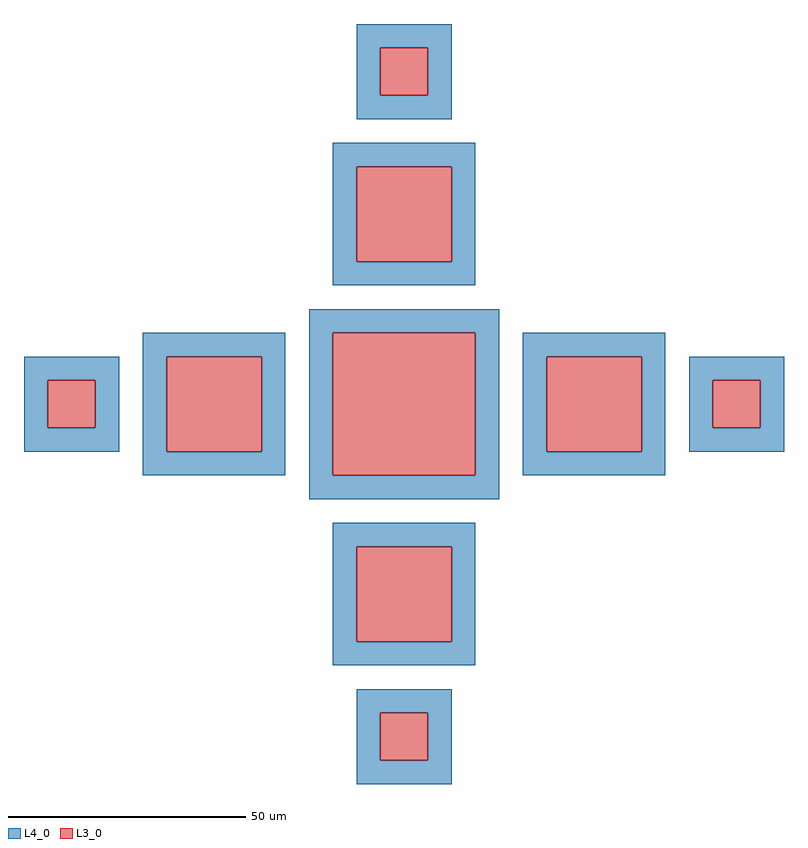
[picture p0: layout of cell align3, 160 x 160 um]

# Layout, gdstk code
from math import pi, radians
import gdstk
lib = gdstk.Library(unit=1e-6, precision=5e-06)
def R(c, l, rs):  # rectangles x0, y0, x1, y1
    for r in rs: c.add(gdstk.rectangle(r[:2], r[2:], *l))
L3_0 = (3, 0)
L4_0 = (4, 0)

align1 = lib.new_cell('align1')
R(align1, L3_0, [(-10,-40,10,-20), (-5,-5,5,5)])

align1_1 = lib.new_cell('align1_1')
R(align1_1, L3_0, [(-15,-15,15,15)])
r = gdstk.Reference(align1, (-70,0), rotation=pi/2); r.repetition = gdstk.Repetition(1, 1, v1=(0,0), v2=(0,0)); align1_1.add(r)
r = gdstk.Reference(align1, (0,-70), rotation=pi); r.repetition = gdstk.Repetition(1, 1, v1=(0,0), v2=(0,0)); align1_1.add(r)
r = gdstk.Reference(align1, (70,0), rotation=3*pi/2); r.repetition = gdstk.Repetition(1, 1, v1=(0,0), v2=(0,0)); align1_1.add(r)
r = gdstk.Reference(align1, (0,70)); r.repetition = gdstk.Repetition(1, 1, v1=(0,0), v2=(0,0)); align1_1.add(r)

align2 = lib.new_cell('align2')
R(align2, L4_0, [(-15,-45,15,-40), (-15,-40,-10,-20), (10,-40,15,-20), (-15,-20,15,-15), (-10,-10,10,-5), (-10,-5,-5,5), (5,-5,10,5), (-10,5,10,10)])

align3 = lib.new_cell('align3')
R(align3, L4_0, [(-20,-20,20,-15), (-20,-15,-15,15), (15,-15,20,15), (-20,15,20,20)])
r = gdstk.Reference(align1_1, (0,0), rotation=3*pi/2); r.repetition = gdstk.Repetition(1, 1, v1=(0,0), v2=(0,0)); align3.add(r)
r = gdstk.Reference(align2, (0,70)); r.repetition = gdstk.Repetition(1, 1, v1=(0,0), v2=(0,0)); align3.add(r)
r = gdstk.Reference(align2, (-70,0), rotation=pi/2); r.repetition = gdstk.Repetition(1, 1, v1=(0,0), v2=(0,0)); align3.add(r)
r = gdstk.Reference(align2, (0,-70), rotation=pi); r.repetition = gdstk.Repetition(1, 1, v1=(0,0), v2=(0,0)); align3.add(r)
r = gdstk.Reference(align2, (70,0), rotation=3*pi/2); r.repetition = gdstk.Repetition(1, 1, v1=(0,0), v2=(0,0)); align3.add(r)

lib.write_gds('align3.gds')
